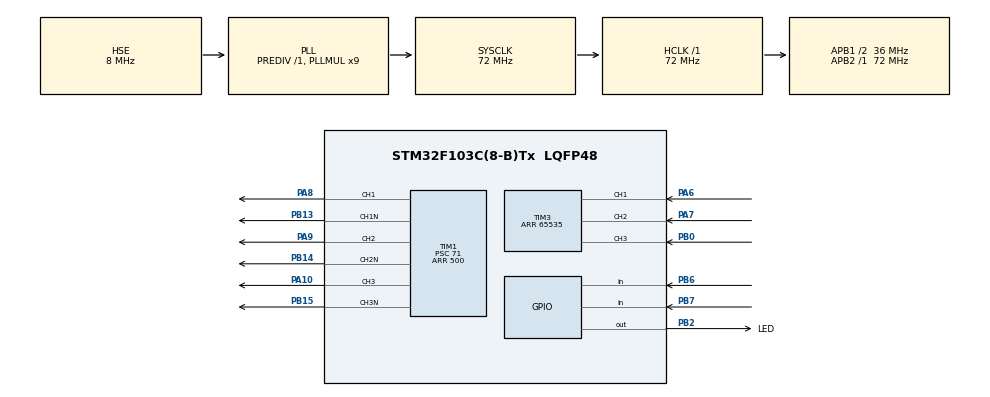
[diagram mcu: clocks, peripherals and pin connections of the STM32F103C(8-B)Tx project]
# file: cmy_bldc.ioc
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Mcu.Family=STM32F1
Mcu.Name=STM32F103C(8-B)Tx
Mcu.Package=LQFP48
NVIC.PriorityGroup=NVIC_PRIORITYGROUP_4
NVIC.TIM2_IRQn=true\:0\:0\:false\:false\:true\:true
NVIC.TIM3_IRQn=true\:0\:0\:false\:false\:true\:true
PA10.Signal=S_TIM1_CH3
PA13.Mode=Serial_Wire
PA13.Signal=SYS_JTMS-SWDIO
PA14.Mode=Serial_Wire
PA14.Signal=SYS_JTCK-SWCLK
PA6.Signal=S_TIM3_CH1
PA7.Signal=S_TIM3_CH2
PA8.Signal=S_TIM1_CH1
PA9.Signal=S_TIM1_CH2
PB0.Signal=S_TIM3_CH3
PB13.Mode=PWM Generation1 CH1 CH1N
PB13.Signal=TIM1_CH1N
PB14.Mode=PWM Generation2 CH2 CH2N
PB14.Signal=TIM1_CH2N
PB15.Mode=PWM Generation3 CH3 CH3N
PB15.Signal=TIM1_CH3N
PB2.GPIO_Label=LED
PB2.PinState=GPIO_PIN_SET
PB2.Signal=GPIO_Output
PB6.Signal=GPIO_Input
PB7.Signal=GPIO_Input
ProjectManager.HeapSize=0x200
ProjectManager.StackSize=0x400
ProjectManager.TargetToolchain=MDK-ARM V5
RCC.AHBFreq_Value=72000000
RCC.APB1CLKDivider=RCC_HCLK_DIV2
RCC.APB1Freq_Value=36000000
RCC.APB1TimFreq_Value=72000000
RCC.APB2Freq_Value=72000000
RCC.APB2TimFreq_Value=72000000
RCC.HCLKFreq_Value=72000000
RCC.PLLMUL=RCC_PLL_MUL9
RCC.PLLSourceVirtual=RCC_PLLSOURCE_HSE
RCC.SYSCLKFreq_VALUE=72000000
RCC.SYSCLKSource=RCC_SYSCLKSOURCE_PLLCLK
RCC.USBFreq_Value=72000000
SH.S_TIM1_CH1.0=TIM1_CH1,PWM Generation1 CH1 CH1N
SH.S_TIM1_CH2.0=TIM1_CH2,PWM Generation2 CH2 CH2N
SH.S_TIM1_CH3.0=TIM1_CH3,PWM Generation3 CH3 CH3N
SH.S_TIM3_CH1.0=TIM3_CH1,Xored_Inputs_Hall_Sensor_Interface
SH.S_TIM3_CH2.0=TIM3_CH2,Xored_Inputs_Hall_Sensor_Interface
SH.S_TIM3_CH3.0=TIM3_CH3,Xored_Inputs_Hall_Sensor_Interface
TIM1.Channel-PWM\ Generation1\ CH1\ CH1N=TIM_CHANNEL_1
TIM1.Channel-PWM\ Generation2\ CH2\ CH2N=TIM_CHANNEL_2
TIM1.Channel-PWM\ Generation3\ CH3\ CH3N=TIM_CHANNEL_3
TIM1.CounterMode=TIM_COUNTERMODE_CENTERALIGNED1
TIM1.DeadTime=50
TIM1.Period=500
TIM1.Prescaler=71
TIM1.Pulse-PWM\ Generation1\ CH1\ CH1N=100
TIM1.Pulse-PWM\ Generation2\ CH2\ CH2N=200
TIM1.Pulse-PWM\ Generation3\ CH3\ CH3N=300
TIM2.Period=50000
TIM2.Prescaler=71
TIM3.Commutation_Delay=1
TIM3.IC1Filter=1
TIM3.Period=65535
VP_TIM2_VS_ClockSourceINT.Mode=Internal
board=cmy_bldc

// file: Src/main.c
/**
  ******************************************************************************
  * File Name          : main.c
  * Description        : Main program body
  ******************************************************************************
  ** This notice applies to any and all portions of this file
  * that are not between comment pairs USER CODE BEGIN and
  * USER CODE END. Other portions of this file, whether
  * inserted by the user or by software development tools
  * are owned by their respective copyright owners.
  *
  * COPYRIGHT(c) 2020 STMicroelectronics
  *
  * Redistribution and use in source and binary forms, with or without modification,
  * are permitted provided that the following conditions are met:
  *   1. Redistributions of source code must retain the above copyright notice,
  *      this list of conditions and the following disclaimer.
  *   2. Redistributions in binary form must reproduce the above copyright notice,
  *      this list of conditions and the following disclaimer in the documentation
  *      and/or other materials provided with the distribution.
  *   3. Neither the name of STMicroelectronics nor the names of its contributors
  *      may be used to endorse or promote products derived from this software
  *      without specific prior written permission.
  *
  * THIS SOFTWARE IS PROVIDED BY THE COPYRIGHT HOLDERS AND CONTRIBUTORS "AS IS"
  * AND ANY EXPRESS OR IMPLIED WARRANTIES, INCLUDING, BUT NOT LIMITED TO, THE
  * IMPLIED WARRANTIES OF MERCHANTABILITY AND FITNESS FOR A PARTICULAR PURPOSE ARE
  * DISCLAIMED. IN NO EVENT SHALL THE COPYRIGHT HOLDER OR CONTRIBUTORS BE LIABLE
  * FOR ANY DIRECT, INDIRECT, INCIDENTAL, SPECIAL, EXEMPLARY, OR CONSEQUENTIAL
  * DAMAGES (INCLUDING, BUT NOT LIMITED TO, PROCUREMENT OF SUBSTITUTE GOODS OR
  * SERVICES; LOSS OF USE, DATA, OR PROFITS; OR BUSINESS INTERRUPTION) HOWEVER
  * CAUSED AND ON ANY THEORY OF LIABILITY, WHETHER IN CONTRACT, STRICT LIABILITY,
  * OR TORT (INCLUDING NEGLIGENCE OR OTHERWISE) ARISING IN ANY WAY OUT OF THE USE
  * OF THIS SOFTWARE, EVEN IF ADVISED OF THE POSSIBILITY OF SUCH DAMAGE.
  *
  ******************************************************************************
  */

#include "main.h"
#include "stm32f1xx_hal.h"
#include "tim.h"
#include "gpio.h"

/* USER CODE BEGIN PV */
/* Private variables ---------------------------------------------------------*/

/* USER CODE END PV */

void SystemClock_Config(void);

/* USER CODE BEGIN PFP */
/* Private function prototypes -----------------------------------------------*/

/* USER CODE END PFP */

/* USER CODE BEGIN 0 */
// |U|V|W
//5|+|-|0
//4|+|0|-
//6|0|+|-
//2|-|+|0
//3|-|0|+
//1|0|-|+
void motor_run(void)
{
  uint8_t hall_read = 0;
  float ADC_Value = 0;
  switch(hall_read)
  {
    case 1:
    {
      //U+ V- W0
      HAL_TIM_PWM_Stop(&htim1,TIM_CHANNEL_3); //W相不发波
      HAL_TIMEx_PWMN_Stop(&htim1,TIM_CHANNEL_3);

      TIM1->CCR1 = ADC_Value*1000/4096;
      HAL_TIM_PWM_Start(&htim1,TIM_CHANNEL_1); //直接操作CCR寄存器来改变占空比

      TIM1->CCR2 = ADC_Value*1000/4096;
      HAL_TIM_PWM_Start(&htim1,TIM_CHANNEL_2); //发互补PWM
    }break;
    default:break;
  }
}

/* USER CODE END 0 */

int main(void)
{

  /* MCU Configuration----------------------------------------------------------*/

  /* Reset of all peripherals, Initializes the Flash interface and the Systick. */
  HAL_Init();

  /* Configure the system clock */
  SystemClock_Config();

  /* Initialize all configured peripherals */
  MX_GPIO_Init();
  MX_TIM1_Init();
  MX_TIM3_Init();
  MX_TIM2_Init();

  /* USER CODE BEGIN 2 */
  HAL_TIMEx_HallSensor_Start_IT(&htim3);

  /* USER CODE END 2 */

  /* Infinite loop */
  while (1)
  {

  /* USER CODE BEGIN 3 */
//    if(HAL_GPIO_ReadPin(GPIOB,GPIO_PIN_6) == GPIO_PIN_RESET)
//    {
//     HAL_GPIO_TogglePin(LED_GPIO_Port, LED_Pin);
//    }else
//    {
//     HAL_GPIO_TogglePin(LED_GPIO_Port, LED_Pin);
//    }
//    if(HAL_GPIO_ReadPin(GPIOB,GPIO_PIN_7) == GPIO_PIN_RESET)
//    {
//     HAL_GPIO_TogglePin(LED_GPIO_Port, LED_Pin);
//    }else
//    {
//     HAL_GPIO_TogglePin(LED_GPIO_Port, LED_Pin);
//    }
//
      HAL_GPIO_TogglePin(LED_GPIO_Port, LED_Pin);
   HAL_Delay(100);
  }
  /* USER CODE END 3 */

}

/** System Clock Configuration
*/
void SystemClock_Config(void)
{

  RCC_OscInitTypeDef RCC_OscInitStruct;
  RCC_ClkInitTypeDef RCC_ClkInitStruct;

    /**Initializes the CPU, AHB and APB busses clocks
    */
  RCC_OscInitStruct.OscillatorType = RCC_OSCILLATORTYPE_HSE;
  RCC_OscInitStruct.HSEState = RCC_HSE_ON;
  RCC_OscInitStruct.HSEPredivValue = RCC_HSE_PREDIV_DIV1;
  RCC_OscInitStruct.HSIState = RCC_HSI_ON;
  RCC_OscInitStruct.PLL.PLLState = RCC_PLL_ON;
  RCC_OscInitStruct.PLL.PLLSource = RCC_PLLSOURCE_HSE;
  RCC_OscInitStruct.PLL.PLLMUL = RCC_PLL_MUL9;
  if (HAL_RCC_OscConfig(&RCC_OscInitStruct) != HAL_OK)
  {
    _Error_Handler(__FILE__, __LINE__);
  }

    /**Initializes the CPU, AHB and APB busses clocks
    */
  RCC_ClkInitStruct.ClockType = RCC_CLOCKTYPE_HCLK|RCC_CLOCKTYPE_SYSCLK
                              |RCC_CLOCKTYPE_PCLK1|RCC_CLOCKTYPE_PCLK2;
  RCC_ClkInitStruct.SYSCLKSource = RCC_SYSCLKSOURCE_PLLCLK;
  RCC_ClkInitStruct.AHBCLKDivider = RCC_SYSCLK_DIV1;
  RCC_ClkInitStruct.APB1CLKDivider = RCC_HCLK_DIV2;
  RCC_ClkInitStruct.APB2CLKDivider = RCC_HCLK_DIV1;

  if (HAL_RCC_ClockConfig(&RCC_ClkInitStruct, FLASH_LATENCY_2) != HAL_OK)
  {
    _Error_Handler(__FILE__, __LINE__);
  }

    /**Configure the Systick interrupt time
    */
  HAL_SYSTICK_Config(HAL_RCC_GetHCLKFreq()/1000);

    /**Configure the Systick
    */
  HAL_SYSTICK_CLKSourceConfig(SYSTICK_CLKSOURCE_HCLK);

  /* SysTick_IRQn interrupt configuration */
  HAL_NVIC_SetPriority(SysTick_IRQn, 0, 0);
}

void _Error_Handler(char * file, int line)
{
  while(1)
  {
  }
}

/************************ (C) COPYRIGHT STMicroelectronics *****END OF FILE****/
